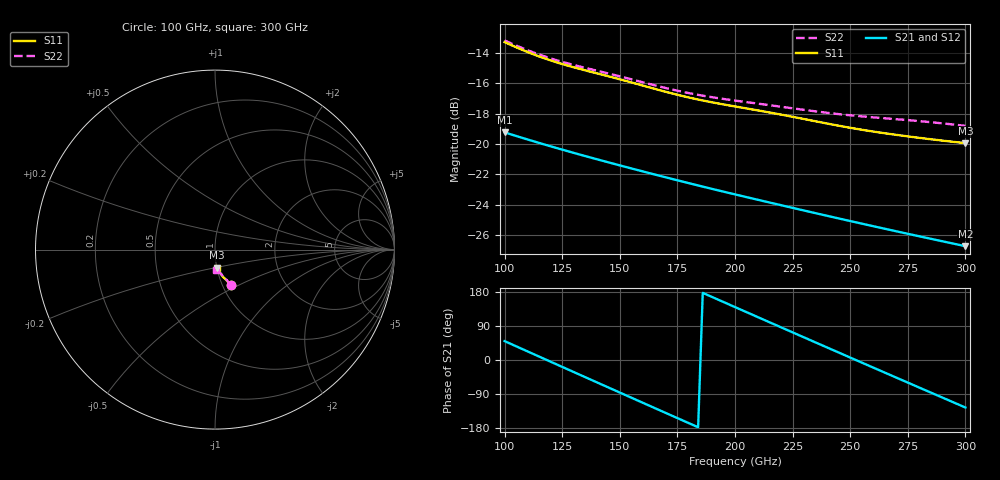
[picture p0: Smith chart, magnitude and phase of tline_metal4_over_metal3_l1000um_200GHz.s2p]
#  GHZ S DB R 50
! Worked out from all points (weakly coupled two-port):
!   101 points, 100 GHz to 300 GHz, reference 50 ohm
!   highest |S21| = -19.24 dB at 100 GHz (marker M1); lowest = -26.7 dB at 300 GHz (marker M2)
!   lowest |S11| = -19.9 dB at 300 GHz (marker M3), VSWR 1.22, Z = 49.9 - j10.1 ohm
!   |S11| at or under -10 dB: start of sweep to end of sweep
!   |S22| runs from -18.8 to -13.2 dB; largest |S21 - S12| = 5.9e-14
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100  -13.28 -66.1  -19.24 49.8  -19.24 49.8  -13.17 -65.4
108  -13.81 -67.4  -19.62 28.0  -19.62 28.0  -13.70 -66.7
116  -14.29 -68.3  -19.98 6.3  -19.98 6.3  -14.15 -67.5
124  -14.68 -69.1  -20.33 -15.5  -20.33 -15.5  -14.54 -68.3
134  -15.11 -70.3  -20.76 -42.6  -20.76 -42.6  -14.94 -69.3
142  -15.42 -71.4  -21.09 -64.3  -21.09 -64.3  -15.24 -70.4
150  -15.74 -72.6  -21.42 -85.9  -21.42 -85.9  -15.54 -71.5
158  -16.07 -73.8  -21.74 -107.5  -21.74 -107.5  -15.85 -72.6
168  -16.48 -75.0  -22.13 -134.5  -22.13 -134.5  -16.24 -73.7
176  -16.80 -75.7  -22.44 -156.0  -22.44 -156.0  -16.52 -74.3
184  -17.07 -76.3  -22.74 -177.5  -22.74 -177.5  -16.76 -74.8
192  -17.31 -76.9  -23.04 161.1  -23.04 161.1  -16.97 -75.3
200  -17.53 -77.7  -23.33 139.7  -23.33 139.7  -17.14 -76.0
208  -17.74 -78.5  -23.62 118.3  -23.62 118.3  -17.30 -76.8
216  -17.95 -79.4  -23.90 96.9  -23.90 96.9  -17.47 -77.6
224  -18.18 -80.3  -24.19 75.6  -24.19 75.6  -17.63 -78.5
234  -18.48 -81.3  -24.54 48.9  -24.54 48.9  -17.83 -79.4
250  -18.94 -82.4  -25.09 6.5  -25.09 6.5  -18.11 -80.9
258  -19.14 -82.8  -25.36 -14.7  -25.36 -14.7  -18.22 -81.6
268  -19.36 -83.3  -25.70 -41.2  -25.70 -41.2  -18.34 -82.7
284  -19.67 -84.0  -26.23 -83.3  -26.23 -83.3  -18.55 -84.8
300  -19.95 -84.6  -26.75 -125.3  -26.75 -125.3  -18.81 -86.9
